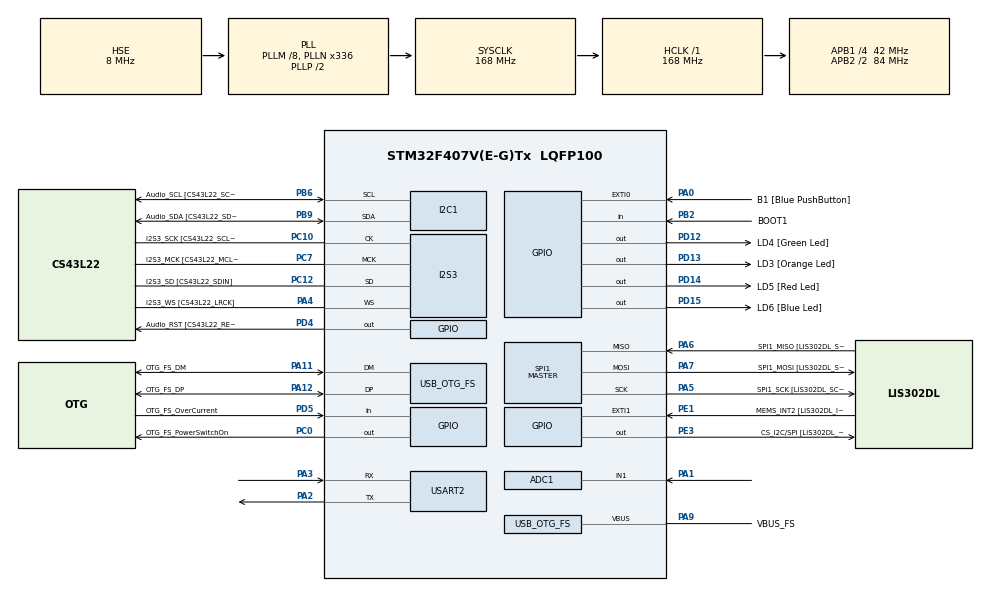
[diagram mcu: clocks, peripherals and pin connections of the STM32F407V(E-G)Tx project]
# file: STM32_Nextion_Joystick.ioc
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ADC1.Channel-1\#ChannelRegularConversion=ADC_CHANNEL_1
ADC1.NbrOfConversionFlag=1
ADC1.Rank-1\#ChannelRegularConversion=1
ADC1.SamplingTime-1\#ChannelRegularConversion=ADC_SAMPLETIME_3CYCLES
ADC1.master=1
I2S3.AudioFreq-Half_Duplex_Master=I2S_AUDIOFREQ_96K
I2S3.ErrorAudioFreq=-2.34 %
I2S3.ErrorAudioFreq-Half_Duplex_Master=0.8 %
I2S3.FullDuplexMode=I2S_FULLDUPLEXMODE_DISABLE
I2S3.Instance=SPI$Index
I2S3.RealAudioFreq=93.75 KHz
I2S3.RealAudioFreq-Half_Duplex_Master=96.774 KHz
I2S3.VirtualMode=I2S_MODE_MASTER
Mcu.Family=STM32F4
Mcu.Name=STM32F407V(E-G)Tx
Mcu.Package=LQFP100
NVIC.OTG_FS_IRQn=true\:0\:0\:false\:false\:true\:true\:true\:true
NVIC.PriorityGroup=NVIC_PRIORITYGROUP_0
NVIC.USART2_IRQn=true\:0\:0\:false\:false\:true\:true\:true\:true
PA0-WKUP.GPIO_Label=B1 [Blue PushButton]
PA0-WKUP.GPIO_ModeDefaultEXTI=GPIO_MODE_EVT_RISING
PA0-WKUP.GPIO_PuPd=GPIO_NOPULL
PA0-WKUP.Signal=GPXTI0
PA1.Signal=ADCx_IN1
PA10.GPIO_Label=OTG_FS_ID
PA10.GPIO_Mode=GPIO_MODE_AF_PP
PA10.GPIO_PuPd=GPIO_NOPULL
PA10.GPIO_Speed=GPIO_SPEED_FREQ_LOW
PA10.Signal=USB_OTG_FS_ID
PA11.GPIO_Label=OTG_FS_DM
PA11.GPIO_Mode=GPIO_MODE_AF_PP
PA11.GPIO_PuPd=GPIO_NOPULL
PA11.GPIO_Speed=GPIO_SPEED_FREQ_LOW
PA11.Mode=Host_Only
PA11.Signal=USB_OTG_FS_DM
PA12.GPIO_Label=OTG_FS_DP
PA12.GPIO_Mode=GPIO_MODE_AF_PP
PA12.GPIO_PuPd=GPIO_NOPULL
PA12.GPIO_Speed=GPIO_SPEED_FREQ_LOW
PA12.Mode=Host_Only
PA12.Signal=USB_OTG_FS_DP
PA13.GPIO_Label=SWDIO
PA13.Mode=Serial_Wire
PA13.Signal=SYS_JTMS-SWDIO
PA14.GPIO_Label=SWCLK
PA14.Mode=Serial_Wire
PA14.Signal=SYS_JTCK-SWCLK
PA2.Mode=Asynchronous
PA2.Signal=USART2_TX
PA3.Mode=Asynchronous
PA3.Signal=USART2_RX
PA4.GPIO_Label=I2S3_WS [CS43L22_LRCK]
PA4.GPIO_Mode=GPIO_MODE_AF_PP
PA4.GPIO_PuPd=GPIO_NOPULL
PA4.GPIO_Speed=GPIO_SPEED_FREQ_LOW
PA4.Mode=Half_Duplex_Master
PA4.Signal=I2S3_WS
PA5.GPIO_Label=SPI1_SCK [LIS302DL_SCL/SPC]
PA5.GPIO_Mode=GPIO_MODE_AF_PP
PA5.GPIO_PuPd=GPIO_NOPULL
PA5.GPIO_Speed=GPIO_SPEED_FREQ_LOW
PA5.Mode=Full_Duplex_Master
PA5.Signal=SPI1_SCK
PA6.GPIO_Label=SPI1_MISO [LIS302DL_SDO]
PA6.GPIO_Mode=GPIO_MODE_AF_PP
PA6.GPIO_PuPd=GPIO_NOPULL
PA6.GPIO_Speed=GPIO_SPEED_FREQ_LOW
PA6.Mode=Full_Duplex_Master
PA6.Signal=SPI1_MISO
PA7.GPIO_Label=SPI1_MOSI [LIS302DL_SDA/SDI/SDO]
PA7.GPIO_Mode=GPIO_MODE_AF_PP
PA7.GPIO_PuPd=GPIO_NOPULL
PA7.GPIO_Speed=GPIO_SPEED_FREQ_LOW
PA7.Mode=Full_Duplex_Master
PA7.Signal=SPI1_MOSI
PA9.GPIO_Label=VBUS_FS
PA9.GPIO_Mode=GPIO_MODE_INPUT
PA9.GPIO_PuPd=GPIO_NOPULL
PA9.Mode=Activate_VBUS
PA9.Signal=USB_OTG_FS_VBUS
PB10.GPIO_Label=CLK_IN [MP45DT02_CLK]
PB10.GPIO_Mode=GPIO_MODE_AF_PP
PB10.GPIO_PuPd=GPIO_NOPULL
PB10.GPIO_Speed=GPIO_SPEED_FREQ_LOW
PB10.Signal=I2S2_CK
PB2.GPIO_Label=BOOT1
PB2.GPIO_Mode=GPIO_MODE_INPUT
PB2.GPIO_PuPd=GPIO_NOPULL
PB2.Signal=GPIO_Input
PB3.GPIO_Label=SWO
PB3.Signal=SYS_JTDO-SWO
PB6.GPIO_Label=Audio_SCL [CS43L22_SCL]
PB6.GPIO_Mode=GPIO_MODE_AF_OD
PB6.GPIO_Pu=GPIO_PULLUP
PB6.GPIO_PuPd=GPIO_NOPULL
PB6.GPIO_Speed=GPIO_SPEED_FREQ_LOW
PB6.Mode=I2C
PB6.Signal=I2C1_SCL
PB9.GPIO_Label=Audio_SDA [CS43L22_SDA]
PB9.GPIO_Mode=GPIO_MODE_AF_OD
PB9.GPIO_Pu=GPIO_PULLUP
PB9.GPIO_PuPd=GPIO_NOPULL
PB9.GPIO_Speed=GPIO_SPEED_FREQ_LOW
PB9.Mode=I2C
PB9.Signal=I2C1_SDA
PC0.GPIO_Label=OTG_FS_PowerSwitchOn
PC0.GPIO_PuPd=GPIO_NOPULL
PC0.GPIO_Speed=GPIO_SPEED_FREQ_LOW
PC0.PinState=GPIO_PIN_SET
PC0.Signal=GPIO_Output
PC10.GPIO_Label=I2S3_SCK [CS43L22_SCLK]
PC10.GPIO_Mode=GPIO_MODE_AF_PP
PC10.GPIO_PuPd=GPIO_NOPULL
PC10.GPIO_Speed=GPIO_SPEED_FREQ_LOW
PC10.Mode=Half_Duplex_Master
PC10.Signal=I2S3_CK
PC12.GPIO_Label=I2S3_SD [CS43L22_SDIN]
PC12.GPIO_Mode=GPIO_MODE_AF_PP
PC12.GPIO_PuPd=GPIO_NOPULL
PC12.GPIO_Speed=GPIO_SPEED_FREQ_LOW
PC12.Mode=Half_Duplex_Master
PC12.Signal=I2S3_SD
PC14-OSC32_IN.GPIO_Label=PC14-OSC32_IN
PC14-OSC32_IN.Mode=LSE-External-Oscillator
PC14-OSC32_IN.Signal=RCC_OSC32_IN
PC15-OSC32_OUT.GPIO_Label=PC15-OSC32_OUT
PC15-OSC32_OUT.Mode=LSE-External-Oscillator
PC15-OSC32_OUT.Signal=RCC_OSC32_OUT
PC3.GPIO_Label=PDM_OUT [MP45DT02_DOUT]
PC3.GPIO_Mode=GPIO_MODE_AF_PP
PC3.GPIO_PuPd=GPIO_NOPULL
PC3.GPIO_Speed=GPIO_SPEED_FREQ_LOW
PC3.Signal=I2S2_SD
PC7.GPIO_Label=I2S3_MCK [CS43L22_MCLK]
PC7.GPIO_Mode=GPIO_MODE_AF_PP
PC7.GPIO_PuPd=GPIO_NOPULL
PC7.GPIO_Speed=GPIO_SPEED_FREQ_LOW
PC7.Mode=Master_Clock_Activated
PC7.Signal=I2S3_MCK
PD12.GPIO_Label=LD4 [Green Led]
PD12.GPIO_PuPd=GPIO_NOPULL
PD12.GPIO_Speed=GPIO_SPEED_FREQ_LOW
PD12.Signal=GPIO_Output
PD13.GPIO_Label=LD3 [Orange Led]
PD13.GPIO_PuPd=GPIO_NOPULL
PD13.GPIO_Speed=GPIO_SPEED_FREQ_LOW
PD13.Signal=GPIO_Output
PD14.GPIO_Label=LD5 [Red Led]
PD14.GPIO_PuPd=GPIO_NOPULL
PD14.GPIO_Speed=GPIO_SPEED_FREQ_LOW
PD14.Signal=GPIO_Output
PD15.GPIO_Label=LD6 [Blue Led]
PD15.GPIO_PuPd=GPIO_NOPULL
PD15.GPIO_Speed=GPIO_SPEED_FREQ_LOW
PD15.Signal=GPIO_Output
PD4.GPIO_Label=Audio_RST [CS43L22_RESET]
PD4.GPIO_PuPd=GPIO_NOPULL
PD4.GPIO_Speed=GPIO_SPEED_FREQ_LOW
PD4.Signal=GPIO_Output
PD5.GPIO_Label=OTG_FS_OverCurrent
PD5.GPIO_Mode=GPIO_MODE_INPUT
PD5.GPIO_PuPd=GPIO_NOPULL
PD5.Signal=GPIO_Input
PE1.GPIO_Label=MEMS_INT2 [LIS302DL_INT2]
PE1.GPIO_ModeDefaultEXTI=GPIO_MODE_EVT_RISING
PE1.GPIO_PuPd=GPIO_NOPULL
PE1.Signal=GPXTI1
PE3.GPIO_Label=CS_I2C/SPI [LIS302DL_CS_I2C/SPI]
PE3.GPIO_PuPd=GPIO_NOPULL
PE3.GPIO_Speed=GPIO_SPEED_FREQ_LOW
PE3.Signal=GPIO_Output
PH0-OSC_IN.GPIO_Label=PH0-OSC_IN
PH0-OSC_IN.Mode=HSE-External-Oscillator
PH0-OSC_IN.Signal=RCC_OSC_IN
PH1-OSC_OUT.GPIO_Label=PH1-OSC_OUT
PH1-OSC_OUT.Mode=HSE-External-Oscillator
PH1-OSC_OUT.Signal=RCC_OSC_OUT
ProjectManager.HeapSize=0x200
ProjectManager.StackSize=0x400
ProjectManager.TargetToolchain=STM32CubeIDE
RCC.48MHZClocksFreq_Value=48000000
RCC.AHBFreq_Value=168000000
RCC.APB1CLKDivider=RCC_HCLK_DIV4
RCC.APB1Freq_Value=42000000
RCC.APB1TimFreq_Value=84000000
RCC.APB2CLKDivider=RCC_HCLK_DIV2
RCC.APB2Freq_Value=84000000
RCC.APB2TimFreq_Value=168000000
RCC.CortexFreq_Value=168000000
RCC.HCLKFreq_Value=168000000
RCC.HSE_VALUE=8000000
RCC.HSI_VALUE=16000000
RCC.PLLM=8
RCC.PLLN=336
RCC.PLLQ=7
RCC.SYSCLKFreq_VALUE=168000000
RCC.SYSCLKSource=RCC_SYSCLKSOURCE_PLLCLK
RCC.VCOOutputFreq_Value=336000000
SH.ADCx_IN1.0=ADC1_IN1,IN1
SPI1.BaudRatePrescaler-Full_Duplex_Master=SPI_BAUDRATEPRESCALER_2
SPI1.CalculateBaudRate-Full_Duplex_Master=42.0 MBits/s
SPI1.Direction=SPI_DIRECTION_2LINES
SPI1.Mode=SPI_MODE_MASTER
SPI1.Mode-Full_Duplex_Master=SPI_MODE_MASTER
SPI1.VirtualType=VM_MASTER
USART2.VirtualMode=VM_ASYNC
USB_HOST.BSP.number=1
USB_HOST.USBH_HandleTypeDef-CDC_FS=hUsbHostFS
USB_HOST.VirtualModeFS=Cdc
USB_HOST0.BSP.STBoard=false
USB_HOST0.BSP.api=Unknown
USB_HOST0.BSP.instance=PC0
USB_HOST0.BSP.ip=GPIO
USB_HOST0.BSP.mode=Output
USB_HOST0.BSP.name=Drive_VBUS_FS
USB_HOST0.BSP.solution=PC0
USB_OTG_FS.VirtualMode=Host_Only
USB_OTG_FS.phy_itface=HCD_PHY_EMBEDDED
VP_USB_HOST_VS_USB_HOST_CDC_FS.Mode=CDC_FS
board=STM32F407G-DISC1

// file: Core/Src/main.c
/* USER CODE BEGIN Header */
/**
  ******************************************************************************
  * @file           : main.c
  * @brief          : Main program body
  ******************************************************************************
  * @attention
  *
  * Copyright (c) 2026 STMicroelectronics.
  * All rights reserved.
  *
  * This software is licensed under terms that can be found in the LICENSE file
  * in the root directory of this software component.
  * If no LICENSE file comes with this software, it is provided AS-IS.
  *
  ******************************************************************************
  */
/* USER CODE END Header */
#include "main.h"
#include "usb_host.h"

/* USER CODE BEGIN Includes */
#include<stdio.h>
#include<string.h>
/* USER CODE END Includes */

ADC_HandleTypeDef hadc1;

I2C_HandleTypeDef hi2c1;

I2S_HandleTypeDef hi2s3;

SPI_HandleTypeDef hspi1;

UART_HandleTypeDef huart2;

/* USER CODE BEGIN PV */
volatile uint16_t joy_x_axis = 0;
uint16_t old_joy_x = 0;
uint16_t old_x = 0;
uint16_t new_x = 0;
char uart_buffer[50];
/* USER CODE END PV */

void SystemClock_Config(void);
static void MX_GPIO_Init(void);
static void MX_ADC1_Init(void);
static void MX_I2C1_Init(void);
static void MX_I2S3_Init(void);
static void MX_SPI1_Init(void);
static void MX_USART2_UART_Init(void);
void MX_USB_HOST_Process(void);

/* USER CODE BEGIN 0 */
void Nextion_Command_send(char* komut){
	// 1. First, send the text we prepared (e.g., "line 150,0,150,240,0")
	HAL_UART_Transmit(&huart2,(uint8_t *)komut,strlen(komut),100);
	// 2. Add 3 closing codes (0xFF) to the end and send.
	uint8_t end[] ={0xFF,0xFF,0xFF};
	HAL_UART_Transmit(&huart2,end,3,100);
}
/* USER CODE END 0 */

int main(void)
{

  /* MCU Configuration--------------------------------------------------------*/

  /* Reset of all peripherals, Initializes the Flash interface and the Systick. */
  HAL_Init();

  /* Configure the system clock */
  SystemClock_Config();

  /* Initialize all configured peripherals */
  MX_GPIO_Init();
  MX_ADC1_Init();
  MX_I2C1_Init();
  MX_I2S3_Init();
  MX_SPI1_Init();
  MX_USART2_UART_Init();
  MX_USB_HOST_Init();

  /* Infinite loop */
  while (1)
  {
    MX_USB_HOST_Process();

    /* USER CODE BEGIN 3 */
    HAL_ADC_Start(&hadc1);
    HAL_ADC_PollForConversion(&hadc1, 100);
    joy_x_axis = HAL_ADC_GetValue(&hadc1);
    // DYNAMIC NOISE FILTER (Prevents fluctuations of 0-20 units)
    // If the new ADC value is 20 units greater OR 20 units smaller than the old one
    if(joy_x_axis > old_joy_x +20 || joy_x_axis < old_joy_x - 20){
    	// 1. Memorize the new valid action
    	old_joy_x = joy_x_axis;
        // 1. MAPPING: We compress the range 0-4095 into the range 0-320.
        //because the horizontal width of the screen is 320 pixels
        new_x = (joy_x_axis *320) / 4095;
        // 2. CONTROL: If the joystick moved (the new coordinates are not the same as the old ones), draw.
        if(new_x != old_x){
        	// 3. DELETE OPERATION: Draw a WHITE line (Nextion color code: 65535) to the old coordinate.
        	sprintf(uart_buffer,"line %d,90,%d,150,65535",old_x,old_x);
        	Nextion_Command_send(uart_buffer);
        	// 4. DRAWING OPERATION: Draw a BLACK line (Nextion color code: 0) at the new coordinate.
        	sprintf(uart_buffer,"line %d,90,%d,150,0",new_x,new_x);
        	Nextion_Command_send(uart_buffer);
        	// 5. Memorize the new location for the next round.
        	old_x = new_x;
        }
    }
    // A little breathing room for the screen to process the commands.
    HAL_Delay(5);
  }
  /* USER CODE END 3 */
}

void SystemClock_Config(void)
{
  RCC_OscInitTypeDef RCC_OscInitStruct = {0};
  RCC_ClkInitTypeDef RCC_ClkInitStruct = {0};

  /** Configure the main internal regulator output voltage
  */
  __HAL_RCC_PWR_CLK_ENABLE();
  __HAL_PWR_VOLTAGESCALING_CONFIG(PWR_REGULATOR_VOLTAGE_SCALE1);

  /** Initializes the RCC Oscillators according to the specified parameters
  * in the RCC_OscInitTypeDef structure.
  */
  RCC_OscInitStruct.OscillatorType = RCC_OSCILLATORTYPE_HSE;
  RCC_OscInitStruct.HSEState = RCC_HSE_ON;
  RCC_OscInitStruct.PLL.PLLState = RCC_PLL_ON;
  RCC_OscInitStruct.PLL.PLLSource = RCC_PLLSOURCE_HSE;
  RCC_OscInitStruct.PLL.PLLM = 8;
  RCC_OscInitStruct.PLL.PLLN = 336;
  RCC_OscInitStruct.PLL.PLLP = RCC_PLLP_DIV2;
  RCC_OscInitStruct.PLL.PLLQ = 7;
  if (HAL_RCC_OscConfig(&RCC_OscInitStruct) != HAL_OK)
  {
    Error_Handler();
  }

  /** Initializes the CPU, AHB and APB buses clocks
  */
  RCC_ClkInitStruct.ClockType = RCC_CLOCKTYPE_HCLK|RCC_CLOCKTYPE_SYSCLK
                              |RCC_CLOCKTYPE_PCLK1|RCC_CLOCKTYPE_PCLK2;
  RCC_ClkInitStruct.SYSCLKSource = RCC_SYSCLKSOURCE_PLLCLK;
  RCC_ClkInitStruct.AHBCLKDivider = RCC_SYSCLK_DIV1;
  RCC_ClkInitStruct.APB1CLKDivider = RCC_HCLK_DIV4;
  RCC_ClkInitStruct.APB2CLKDivider = RCC_HCLK_DIV2;

  if (HAL_RCC_ClockConfig(&RCC_ClkInitStruct, FLASH_LATENCY_5) != HAL_OK)
  {
    Error_Handler();
  }
}

static void MX_ADC1_Init(void)
{

  ADC_ChannelConfTypeDef sConfig = {0};

  /** Configure the global features of the ADC (Clock, Resolution, Data Alignment and number of conversion)
  */
  hadc1.Instance = ADC1;
  hadc1.Init.ClockPrescaler = ADC_CLOCK_SYNC_PCLK_DIV4;
  hadc1.Init.Resolution = ADC_RESOLUTION_12B;
  hadc1.Init.ScanConvMode = DISABLE;
  hadc1.Init.ContinuousConvMode = DISABLE;
  hadc1.Init.DiscontinuousConvMode = DISABLE;
  hadc1.Init.ExternalTrigConvEdge = ADC_EXTERNALTRIGCONVEDGE_NONE;
  hadc1.Init.ExternalTrigConv = ADC_SOFTWARE_START;
  hadc1.Init.DataAlign = ADC_DATAALIGN_RIGHT;
  hadc1.Init.NbrOfConversion = 1;
  hadc1.Init.DMAContinuousRequests = DISABLE;
  hadc1.Init.EOCSelection = ADC_EOC_SINGLE_CONV;
  if (HAL_ADC_Init(&hadc1) != HAL_OK)
  {
    Error_Handler();
  }

  /** Configure for the selected ADC regular channel its corresponding rank in the sequencer and its sample time.
  */
  sConfig.Channel = ADC_CHANNEL_1;
  sConfig.Rank = 1;
  sConfig.SamplingTime = ADC_SAMPLETIME_3CYCLES;
  if (HAL_ADC_ConfigChannel(&hadc1, &sConfig) != HAL_OK)
  {
    Error_Handler();
  }

}

static void MX_I2C1_Init(void)
{

  hi2c1.Instance = I2C1;
  hi2c1.Init.ClockSpeed = 100000;
  hi2c1.Init.DutyCycle = I2C_DUTYCYCLE_2;
  hi2c1.Init.OwnAddress1 = 0;
  hi2c1.Init.AddressingMode = I2C_ADDRESSINGMODE_7BIT;
  hi2c1.Init.DualAddressMode = I2C_DUALADDRESS_DISABLE;
  hi2c1.Init.OwnAddress2 = 0;
  hi2c1.Init.GeneralCallMode = I2C_GENERALCALL_DISABLE;
  hi2c1.Init.NoStretchMode = I2C_NOSTRETCH_DISABLE;
  if (HAL_I2C_Init(&hi2c1) != HAL_OK)
  {
    Error_Handler();
  }

}

static void MX_I2S3_Init(void)
{

  hi2s3.Instance = SPI3;
  hi2s3.Init.Mode = I2S_MODE_MASTER_TX;
  hi2s3.Init.Standard = I2S_STANDARD_PHILIPS;
  hi2s3.Init.DataFormat = I2S_DATAFORMAT_16B;
  hi2s3.Init.MCLKOutput = I2S_MCLKOUTPUT_ENABLE;
  hi2s3.Init.AudioFreq = I2S_AUDIOFREQ_96K;
  hi2s3.Init.CPOL = I2S_CPOL_LOW;
  hi2s3.Init.ClockSource = I2S_CLOCK_PLL;
  hi2s3.Init.FullDuplexMode = I2S_FULLDUPLEXMODE_DISABLE;
  if (HAL_I2S_Init(&hi2s3) != HAL_OK)
  {
    Error_Handler();
  }

}

static void MX_SPI1_Init(void)
{

  /* SPI1 parameter configuration*/
  hspi1.Instance = SPI1;
  hspi1.Init.Mode = SPI_MODE_MASTER;
  hspi1.Init.Direction = SPI_DIRECTION_2LINES;
  hspi1.Init.DataSize = SPI_DATASIZE_8BIT;
  hspi1.Init.CLKPolarity = SPI_POLARITY_LOW;
  hspi1.Init.CLKPhase = SPI_PHASE_1EDGE;
  hspi1.Init.NSS = SPI_NSS_SOFT;
  hspi1.Init.BaudRatePrescaler = SPI_BAUDRATEPRESCALER_2;
  hspi1.Init.FirstBit = SPI_FIRSTBIT_MSB;
  hspi1.Init.TIMode = SPI_TIMODE_DISABLE;
  hspi1.Init.CRCCalculation = SPI_CRCCALCULATION_DISABLE;
  hspi1.Init.CRCPolynomial = 10;
  if (HAL_SPI_Init(&hspi1) != HAL_OK)
  {
    Error_Handler();
  }

}

static void MX_USART2_UART_Init(void)
{

  huart2.Instance = USART2;
  huart2.Init.BaudRate = 115200;
  huart2.Init.WordLength = UART_WORDLENGTH_8B;
  huart2.Init.StopBits = UART_STOPBITS_1;
  huart2.Init.Parity = UART_PARITY_NONE;
  huart2.Init.Mode = UART_MODE_TX_RX;
  huart2.Init.HwFlowCtl = UART_HWCONTROL_NONE;
  huart2.Init.OverSampling = UART_OVERSAMPLING_16;
  if (HAL_UART_Init(&huart2) != HAL_OK)
  {
    Error_Handler();
  }

}

static void MX_GPIO_Init(void)
{
  GPIO_InitTypeDef GPIO_InitStruct = {0};

  /* GPIO Ports Clock Enable */
  __HAL_RCC_GPIOE_CLK_ENABLE();
  __HAL_RCC_GPIOC_CLK_ENABLE();
  __HAL_RCC_GPIOH_CLK_ENABLE();
  __HAL_RCC_GPIOA_CLK_ENABLE();
  __HAL_RCC_GPIOB_CLK_ENABLE();
  __HAL_RCC_GPIOD_CLK_ENABLE();

  /*Configure GPIO pin Output Level */
  HAL_GPIO_WritePin(CS_I2C_SPI_GPIO_Port, CS_I2C_SPI_Pin, GPIO_PIN_RESET);

  /*Configure GPIO pin Output Level */
  HAL_GPIO_WritePin(OTG_FS_PowerSwitchOn_GPIO_Port, OTG_FS_PowerSwitchOn_Pin, GPIO_PIN_SET);

  /*Configure GPIO pin Output Level */
  HAL_GPIO_WritePin(GPIOD, LD4_Pin|LD3_Pin|LD5_Pin|LD6_Pin
                          |Audio_RST_Pin, GPIO_PIN_RESET);

  /*Configure GPIO pin : CS_I2C_SPI_Pin */
  GPIO_InitStruct.Pin = CS_I2C_SPI_Pin;
  GPIO_InitStruct.Mode = GPIO_MODE_OUTPUT_PP;
  GPIO_InitStruct.Pull = GPIO_NOPULL;
  GPIO_InitStruct.Speed = GPIO_SPEED_FREQ_LOW;
  HAL_GPIO_Init(CS_I2C_SPI_GPIO_Port, &GPIO_InitStruct);

  /*Configure GPIO pin : OTG_FS_PowerSwitchOn_Pin */
  GPIO_InitStruct.Pin = OTG_FS_PowerSwitchOn_Pin;
  GPIO_InitStruct.Mode = GPIO_MODE_OUTPUT_PP;
  GPIO_InitStruct.Pull = GPIO_NOPULL;
  GPIO_InitStruct.Speed = GPIO_SPEED_FREQ_LOW;
  HAL_GPIO_Init(OTG_FS_PowerSwitchOn_GPIO_Port, &GPIO_InitStruct);

  /*Configure GPIO pin : PDM_OUT_Pin */
  GPIO_InitStruct.Pin = PDM_OUT_Pin;
  GPIO_InitStruct.Mode = GPIO_MODE_AF_PP;
  GPIO_InitStruct.Pull = GPIO_NOPULL;
  GPIO_InitStruct.Speed = GPIO_SPEED_FREQ_LOW;
  GPIO_InitStruct.Alternate = GPIO_AF5_SPI2;
  HAL_GPIO_Init(PDM_OUT_GPIO_Port, &GPIO_InitStruct);

  /*Configure GPIO pin : B1_Pin */
  GPIO_InitStruct.Pin = B1_Pin;
  GPIO_InitStruct.Mode = GPIO_MODE_EVT_RISING;
  GPIO_InitStruct.Pull = GPIO_NOPULL;
  HAL_GPIO_Init(B1_GPIO_Port, &GPIO_InitStruct);

  /*Configure GPIO pin : BOOT1_Pin */
  GPIO_InitStruct.Pin = BOOT1_Pin;
  GPIO_InitStruct.Mode = GPIO_MODE_INPUT;
  GPIO_InitStruct.Pull = GPIO_NOPULL;
  HAL_GPIO_Init(BOOT1_GPIO_Port, &GPIO_InitStruct);

  /*Configure GPIO pin : CLK_IN_Pin */
  GPIO_InitStruct.Pin = CLK_IN_Pin;
  GPIO_InitStruct.Mode = GPIO_MODE_AF_PP;
  GPIO_InitStruct.Pull = GPIO_NOPULL;
  GPIO_InitStruct.Speed = GPIO_SPEED_FREQ_LOW;
  GPIO_InitStruct.Alternate = GPIO_AF5_SPI2;
  HAL_GPIO_Init(CLK_IN_GPIO_Port, &GPIO_InitStruct);

  /*Configure GPIO pins : LD4_Pin LD3_Pin LD5_Pin LD6_Pin
                           Audio_RST_Pin */
  GPIO_InitStruct.Pin = LD4_Pin|LD3_Pin|LD5_Pin|LD6_Pin
                          |Audio_RST_Pin;
  GPIO_InitStruct.Mode = GPIO_MODE_OUTPUT_PP;
  GPIO_InitStruct.Pull = GPIO_NOPULL;
  GPIO_InitStruct.Speed = GPIO_SPEED_FREQ_LOW;
  HAL_GPIO_Init(GPIOD, &GPIO_InitStruct);

  /*Configure GPIO pin : OTG_FS_OverCurrent_Pin */
  GPIO_InitStruct.Pin = OTG_FS_OverCurrent_Pin;
  GPIO_InitStruct.Mode = GPIO_MODE_INPUT;
  GPIO_InitStruct.Pull = GPIO_NOPULL;
  HAL_GPIO_Init(OTG_FS_OverCurrent_GPIO_Port, &GPIO_InitStruct);

  /*Configure GPIO pin : MEMS_INT2_Pin */
  GPIO_InitStruct.Pin = MEMS_INT2_Pin;
  GPIO_InitStruct.Mode = GPIO_MODE_EVT_RISING;
  GPIO_InitStruct.Pull = GPIO_NOPULL;
  HAL_GPIO_Init(MEMS_INT2_GPIO_Port, &GPIO_InitStruct);

}

void Error_Handler(void)
{
  __disable_irq();
  while (1)
  {
  }
}
